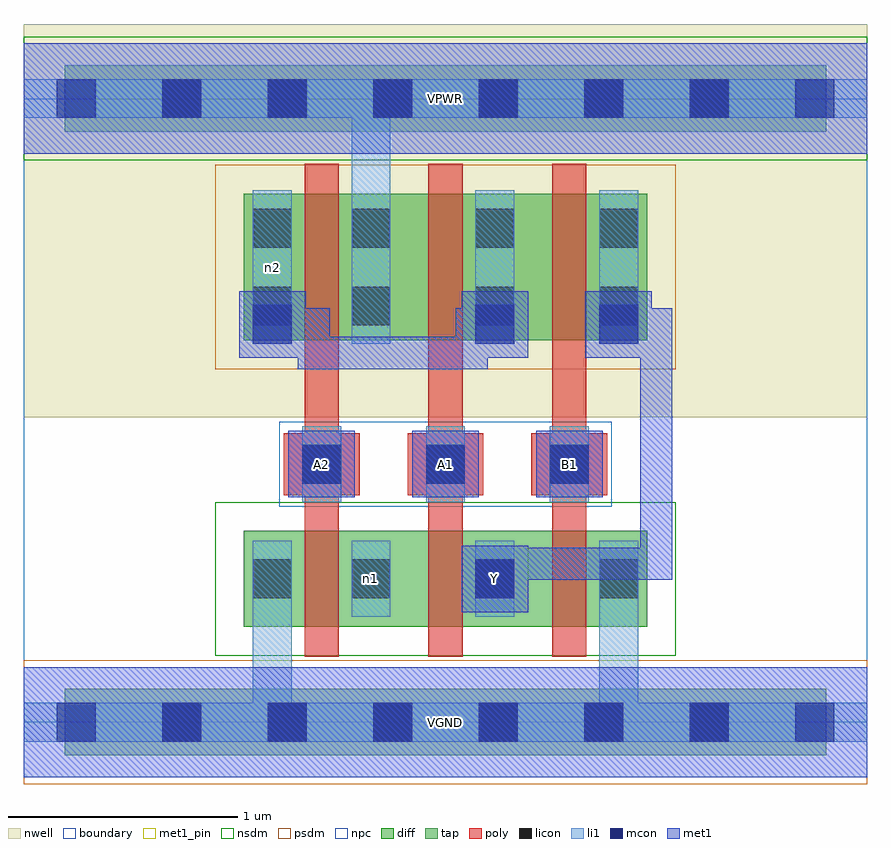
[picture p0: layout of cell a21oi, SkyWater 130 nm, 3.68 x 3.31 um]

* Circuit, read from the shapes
.subckt a21oi A1 A2 B1 VGND VPWR Y n1 n2
XM1 n1 A2 VGND VGND sky130_fd_pr__nfet_01v8 w=0.42 l=0.15
XM2 Y A1 n1 VGND sky130_fd_pr__nfet_01v8 w=0.42 l=0.15
XM3 VGND B1 Y VGND sky130_fd_pr__nfet_01v8 w=0.42 l=0.15
XM4 VPWR A2 n2 VPWR sky130_fd_pr__pfet_01v8 w=0.64 l=0.15
XM5 n2 A1 VPWR VPWR sky130_fd_pr__pfet_01v8 w=0.64 l=0.15
XM6 Y B1 n2 VPWR sky130_fd_pr__pfet_01v8 w=0.64 l=0.15
.ends

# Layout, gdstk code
import gdstk
lib = gdstk.Library(unit=1e-6, precision=1e-09)
def R(c, l, rs):  # rectangles x0, y0, x1, y1
    for r in rs: c.add(gdstk.rectangle(r[:2], r[2:], *l))
def A(c, l, x, y, w, h, nx, ny, dx, dy):  # array of equal rectangles
    R(c, l, [(x+i*dx, y+j*dy, x+i*dx+w, y+j*dy+h) for i in range(nx) for j in range(ny)])
nwell = (64, 20)
diff = (65, 20)
tap = (65, 44)
poly = (66, 20)
licon = (66, 44)
li1 = (67, 20)
mcon = (67, 44)
met1_pin = (68, 16)
met1 = (68, 20)
nsdm = (93, 44)
psdm = (94, 20)
npc = (95, 20)
boundary = (235, 4)

a21oi = lib.new_cell('a21oi')
R(a21oi, nwell, [(0,1.33,3.68,3.045)])
R(a21oi, diff, [(0.96,0.415,2.72,0.835), (0.96,1.665,2.72,2.305)])
R(a21oi, tap, [(0.18,-0.145,3.5,0.145), (0.18,2.575,3.5,2.865)])
A(a21oi, poly, 1.225, 0.285, 0.15, 2.15, 3, 1, 0.54, 0)
A(a21oi, poly, 1.135, 0.99, 0.33, 0.27, 3, 1, 0.54, 0)
A(a21oi, licon, 0.605, -0.085, 0.17, 0.17, 6, 2, 0.46, 2.72)
A(a21oi, licon, 1.43, 0.54, 0.17, 0.17, 3, 2, 0.54, 1.19)
A(a21oi, licon, 1.215, 1.04, 0.17, 0.17, 3, 1, 0.54, 0)
A(a21oi, licon, 1.43, 2.07, 0.17, 0.17, 3, 1, 0.54, 0)
R(a21oi, licon, [(1,0.54,1.17,0.71), (1,1.73,1.17,1.9), (1,2.07,1.17,2.24)])
A(a21oi, li1, 1.43, 0.46, 0.17, 0.33, 3, 1, 0.54, 0)
A(a21oi, li1, 1.215, 0.96, 0.17, 0.33, 3, 1, 0.54, 0)
A(a21oi, li1, 1.43, 1.65, 0.17, 0.67, 3, 1, 0.54, 0)
R(a21oi, li1, [(0,-0.085,3.68,0.085), (1,-0.085,1.17,0.79), (2.51,-0.085,2.68,0.79), (1,0.46,1.17,0.79), (1,1.65,1.17,2.32), (1.43,1.65,1.6,2.805), (0,2.635,3.68,2.805)])
A(a21oi, mcon, 0.145, -0.085, 0.17, 0.17, 8, 2, 0.46, 2.72)
A(a21oi, mcon, 1.215, 1.04, 0.17, 0.17, 3, 1, 0.54, 0)
R(a21oi, mcon, [(1.97,0.54,2.14,0.71), (1,1.65,1.17,1.82), (1.97,1.65,2.14,1.82), (2.51,1.65,2.68,1.82)])
A(a21oi, met1_pin, 1.155, 0.98, 0.29, 0.29, 3, 1, 0.54, 0)
R(a21oi, met1_pin, [(0,-0.24,3.68,0.24), (1.91,0.48,2.2,0.77), (0,2.48,3.68,2.96)])
A(a21oi, met1, 1.155, 0.98, 0.29, 0.29, 3, 1, 0.54, 0)
R(a21oi, met1, [(0,-0.24,3.68,0.24), (1.91,0.48,2.2,0.77), (2,0.62,2.83,0.76), (2,0.62,2.14,0.76), (2.69,0.62,2.83,1.68), (1.195,1.54,1.335,1.805), (1.195,1.54,2.025,1.68), (1.885,1.54,2.025,1.805), (2.69,1.54,2.83,1.805), (0.94,1.59,1.23,1.88), (1.91,1.59,2.2,1.88), (2.45,1.59,2.74,1.88), (1.015,1.665,1.335,1.805), (1.885,1.665,2.125,1.805), (2.525,1.665,2.83,1.805), (0,2.48,3.68,2.96)])
R(a21oi, nsdm, [(0.835,0.29,2.845,0.96), (0,2.45,3.68,2.99)])
R(a21oi, psdm, [(0,-0.27,3.68,0.27), (0.835,1.54,2.845,2.43)])
R(a21oi, npc, [(1.115,0.94,2.565,1.31)])
R(a21oi, boundary, [(0,0,3.68,2.72)])
a21oi.add(gdstk.Label('n1', (1.515,0.625), layer=67, texttype=5))
a21oi.add(gdstk.Label('n2', (1.085,1.985), layer=67, texttype=5))
a21oi.add(gdstk.Label('A1', (1.84,1.125), layer=68, texttype=5))
a21oi.add(gdstk.Label('A2', (1.3,1.125), layer=68, texttype=5))
a21oi.add(gdstk.Label('B1', (2.38,1.125), layer=68, texttype=5))
a21oi.add(gdstk.Label('Y', (2.055,0.625), layer=68, texttype=5))
a21oi.add(gdstk.Label('VPWR', (1.84,2.72), layer=68, texttype=5))
a21oi.add(gdstk.Label('VGND', (1.84,0), layer=68, texttype=5))
a21oi.add(gdstk.Label('A1', (1.84,1.125), layer=68, texttype=16))
a21oi.add(gdstk.Label('A2', (1.3,1.125), layer=68, texttype=16))
a21oi.add(gdstk.Label('B1', (2.38,1.125), layer=68, texttype=16))
a21oi.add(gdstk.Label('Y', (2.055,0.625), layer=68, texttype=16))
a21oi.add(gdstk.Label('VPWR', (1.84,2.72), layer=68, texttype=16))
a21oi.add(gdstk.Label('VGND', (1.84,0), layer=68, texttype=16))

lib.write_gds('a21oi.gds')
